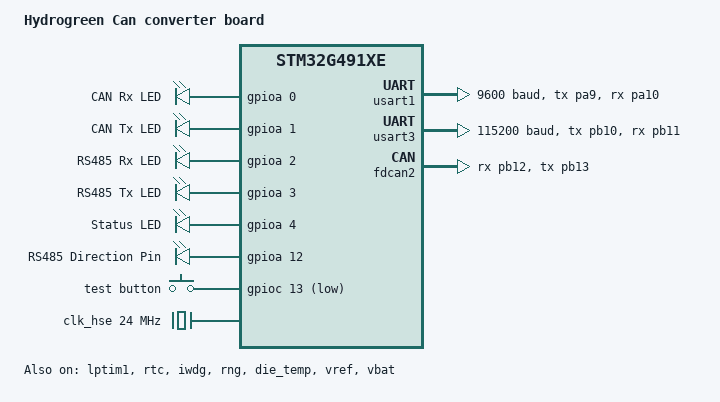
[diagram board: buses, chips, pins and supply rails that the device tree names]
/dts-v1/;
#include <st/g4/stm32g491Xe.dtsi>
#include <st/g4/stm32g491c(c-e)tx-pinctrl.dtsi>

#include <zephyr/dt-bindings/led/led.h>

/ {
	model = "Hydrogreen Can converter board";
	compatible = "hydrogreen,can-converter";


	aliases {
		can-rx-led = &can_rx_led;
		can-tx-led = &can_tx_led;
		rs485-rx-led = &rs485_rx_led;
		rs485-tx-led =&rs485_tx_led;
		status-led = &status_led;
		can = &fdcan2;
		rs485 = &usart1;
		rs485-dir = &rs485_dir_pin;
		button-test = &button_test;
		watchdog0 = &iwdg;
		die-temp0 = &die_temp;
		volt-sensor0 = &vref;
		volt-sensor1 = &vbat;
	};

	chosen {
		zephyr,console = &usart3;
		zephyr,shell-uart = &usart3;
		zephyr,sram = &sram0;
		zephyr,flash = &flash0;
		zephyr,canbus = &fdcan2;
		zephyr,code-partition = &slot0_partition;
	};

	leds {
		compatible = "gpio-leds";
		can_rx_led: led_pa0 {
			gpios = <&gpioa 0 GPIO_ACTIVE_HIGH>;
			label = "CAN Rx LED";
		};
		can_tx_led: led_pa1 {
			gpios = <&gpioa 1 GPIO_ACTIVE_HIGH>;
			label = "CAN Tx LED";
		};
		rs485_rx_led: led_pa2 {
			gpios = <&gpioa 2 GPIO_ACTIVE_HIGH>;
			label = "RS485 Rx LED";
		};
		rs485_tx_led: led_pa3 {
			gpios = <&gpioa 3 GPIO_ACTIVE_HIGH>;
			label = "RS485 Tx LED";
		};
		status_led: led_pa4 {
			gpios = <&gpioa 4 GPIO_ACTIVE_HIGH>;
			label = "Status LED";
		};
			rs485_dir_pin: dir_pin_pa12 {
			gpios = <&gpioa 12 GPIO_ACTIVE_HIGH>;
			label = "RS485 Direction Pin";
		};
	};

	buttons {
		compatible = "gpio-keys";
		debounce-interval-ms = <0>;
		button_test: button_pc13 {
			gpios = <&gpioc 13 (GPIO_ACTIVE_LOW | GPIO_PULL_UP)>;
			label = "test button";
		};
	};
};

&gpioa {
	status = "okay";
};

&gpiob {
	status = "okay";
};


&clk_lsi {
	status = "okay";
};

&clk_hsi48 {
	status = "okay";
};

&clk_hse {
	clock-frequency = <DT_FREQ_M(24)>;
	status = "okay";
};

&clk_hsi {
	status = "okay";
};

&pll {
	div-m = <6>;
	mul-n = <85>;
	div-p = <7>;
	div-q = <2>;
	div-r = <2>;
	clocks = <&clk_hse>;
	status = "okay";
};

&rcc {
	clocks = <&pll>;
	clock-frequency = <DT_FREQ_M(170)>;
	ahb-prescaler = <1>;
	apb1-prescaler = <1>;
	apb2-prescaler = <1>;
};


&usart1 {
	pinctrl-0 = <&usart1_tx_pa9 &usart1_rx_pa10>;
	pinctrl-names = "default";
	current-speed = <9600>;
	status = "okay";
};


&usart3 {
	pinctrl-0 = <&usart3_tx_pb10 &usart3_rx_pb11>;
	pinctrl-names = "default";
	current-speed = <115200>;
	status = "okay";
};



//&timers2 {
//	status = "okay";
//
//	pwm2: pwm {
//		status = "okay";
//		pinctrl-0 = <&tim2_ch1_pa5>;
//		pinctrl-names = "default";
//	};
//};
//
//&timers3 {
//	st,prescaler = <10000>;
//	status = "okay";
//	pwm3: pwm {
//		status = "okay";
//		pinctrl-0 = <&tim3_ch1_pb4>;
//		pinctrl-names = "default";
//	};
//};

stm32_lp_tick_source: &lptim1 {
	clocks = <&rcc STM32_CLOCK_BUS_APB1 0x80000000>,
			 <&rcc STM32_SRC_LSI LPTIM1_SEL(1)>;
	status = "okay";
};

&rtc {
	clocks = <&rcc STM32_CLOCK_BUS_APB1 0x00000400>,
			 <&rcc STM32_SRC_LSI RTC_SEL(2)>;
	status = "okay";
};

&flash0 {
	partitions {
		compatible = "fixed-partitions";
		#address-cells = <1>;
		#size-cells = <1>;

		boot_partition: partition@0 {
			label = "mcuboot";
			reg = <0x00000000 DT_SIZE_K(34)>;
		};
		slot0_partition: partition@8800 {
			label = "image-0";
			reg = <0x00008800 DT_SIZE_K(240)>;
		};
		slot1_partition: partition@44800 {
			label = "image-1";
			reg = <0x00044800 DT_SIZE_K(234)>;
		};
		/* Set 4Kb of storage at the end of the 512Kb of flash */
		storage_partition: partition@7f000 {
			label = "storage";
			reg = <0x0007f000 DT_SIZE_K(4)>;
		};
	};
};

&iwdg {
	status = "okay";
};

&rng {
	status = "okay";
};


&die_temp {
	status = "okay";
};

//&fdcan1 {
//	clocks = <&rcc STM32_CLOCK_BUS_APB1 0x02000000>,
//			 <&rcc STM32_SRC_HSE FDCAN_SEL(0)>;
//	pinctrl-0 = <&fdcan1_rx_pa11 &fdcan1_tx_pa12>;
//	pinctrl-names = "default";
//	status = "okay";
//};

&fdcan2 {
	pinctrl-0 = <&fdcan2_rx_pb12 &fdcan2_tx_pb13>;
	pinctrl-names = "default";
	status = "okay";
};

&vref {
	status = "okay";
};

&vbat {
	status = "okay";
};


